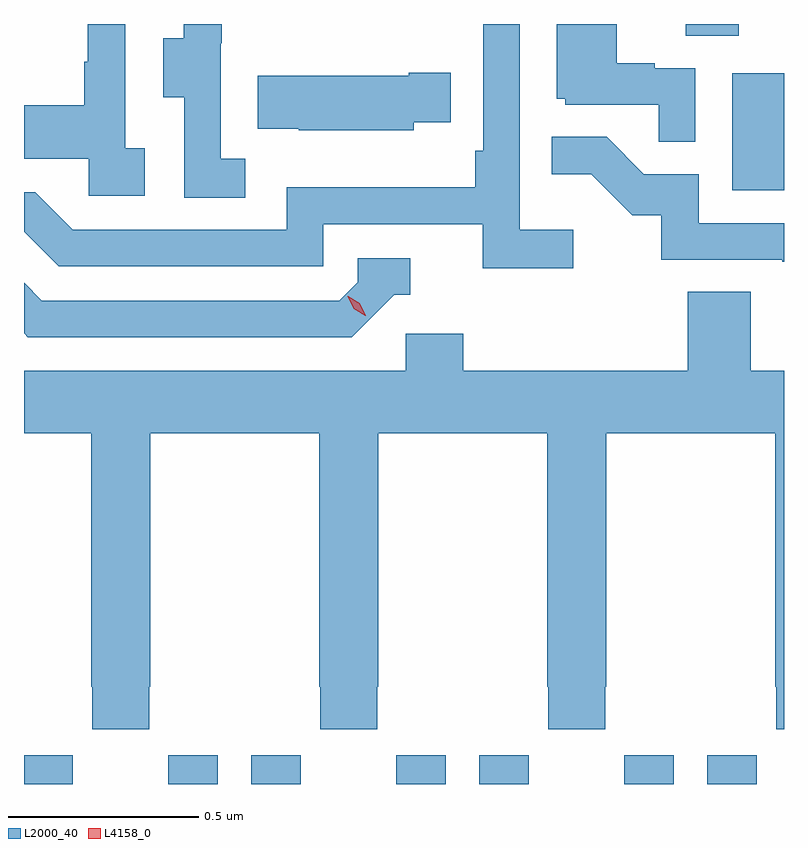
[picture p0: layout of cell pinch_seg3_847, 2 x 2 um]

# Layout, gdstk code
import gdstk
lib = gdstk.Library(unit=1e-6, precision=1e-09)
def R(c, l, rs):  # rectangles x0, y0, x1, y1
    for r in rs: c.add(gdstk.rectangle(r[:2], r[2:], *l))
def P(c, l, *ps):  # polygons
    for p in ps: c.add(gdstk.Polygon(p, *l))
L2000_40 = (2000, 40)
L4158_0 = (4158, 0)

pinch_seg3_847 = lib.new_cell('pinch_seg3_847')
R(pinch_seg3_847, L2000_40, [(849.478,707.985,849.606,708.061), (849.858,707.985,849.988,708.061), (850.076,707.985,850.206,708.061), (850.458,707.985,850.588,708.061), (850.676,707.985,850.806,708.061), (851.058,707.985,851.188,708.061), (851.276,707.985,851.406,708.061), (851.342,709.548,851.478,709.855), (851.219,709.954,851.359,709.985)])
P(pinch_seg3_847, L2000_40, [(849.796,709.658),(849.744,709.658),(849.744,709.985),(849.646,709.985),(849.646,709.886),(849.636,709.886),(849.636,709.771),(849.478,709.771),(849.478,709.631),(849.648,709.631),(849.648,709.533),(849.796,709.533)],
  [(850.924,709.444),(850.782,709.444),(850.782,709.985),(850.686,709.985),(850.686,709.651),(850.666,709.651),(850.666,709.555),(850.17,709.555),(850.17,709.443),(849.606,709.443),(849.507,709.542),(849.478,709.542),(849.478,709.438),(849.569,709.347),(850.266,709.347),(850.266,709.458),(850.685,709.458),(850.685,709.342),(850.924,709.342)],
  [(851.244,709.869),(851.138,709.869),(851.138,709.882),(851.038,709.882),(851.038,709.985),(850.88,709.985),(850.88,709.788),(850.902,709.788),(850.902,709.773),(851.149,709.773),(851.149,709.675),(851.244,709.675)],
  [(850.06,709.631),(849.996,709.631),(849.996,709.935),(849.998,709.935),(849.998,709.985),(849.899,709.985),(849.899,709.947),(849.845,709.947),(849.845,709.792),(849.9,709.792),(849.9,709.528),(850.06,709.528)],
  [(850.503,709.727),(850.601,709.727),(850.601,709.857),(850.49,709.857),(850.49,709.849),(850.093,709.849),(850.093,709.709),(850.201,709.709),(850.201,709.706),(850.503,709.706)],
  [(851.478,709.461),(851.253,709.461),(851.253,709.59),(851.109,709.59),(851.011,709.688),(850.867,709.688),(850.867,709.589),(850.971,709.589),(851.078,709.482),(851.155,709.482),(851.155,709.365),(851.473,709.365),(851.473,709.36),(851.478,709.36)],
  [(850.452,709.272),(850.495,709.272),(850.495,709.368),(850.356,709.368),(850.356,709.305),(850.308,709.257),(849.525,709.257),(849.478,709.304),(849.478,709.171),(849.488,709.161),(850.341,709.161)],
  [(849.807,708.241),(849.81,708.241),(849.81,708.908),(850.255,708.908),(850.255,708.241),(850.257,708.241),(850.257,708.129),(850.407,708.129),(850.407,708.241),(850.41,708.241),(850.41,708.908),(850.855,708.908),(850.855,708.241),(850.857,708.241),(850.857,708.129),(851.007,708.129),(851.007,708.241),(851.01,708.241),(851.01,708.908),(851.455,708.908),(851.455,708.241),(851.457,708.241),(851.457,708.129),(851.478,708.129),(851.478,709.072),(851.39,709.072),(851.39,709.28),(851.225,709.28),(851.225,709.072),(850.634,709.072),(850.634,709.17),(850.482,709.17),(850.482,709.072),(849.478,709.072),(849.478,708.908),(849.655,708.908),(849.655,708.241),(849.657,708.241),(849.657,708.129),(849.807,708.129)])
P(pinch_seg3_847, L4158_0, [(850.376,709.217),(850.346,709.236),(850.33,709.269),(850.33,709.269),(850.331,709.269),(850.361,709.25),(850.377,709.217),(850.377,709.217)])

lib.write_gds('pinch_seg3_847.gds')
